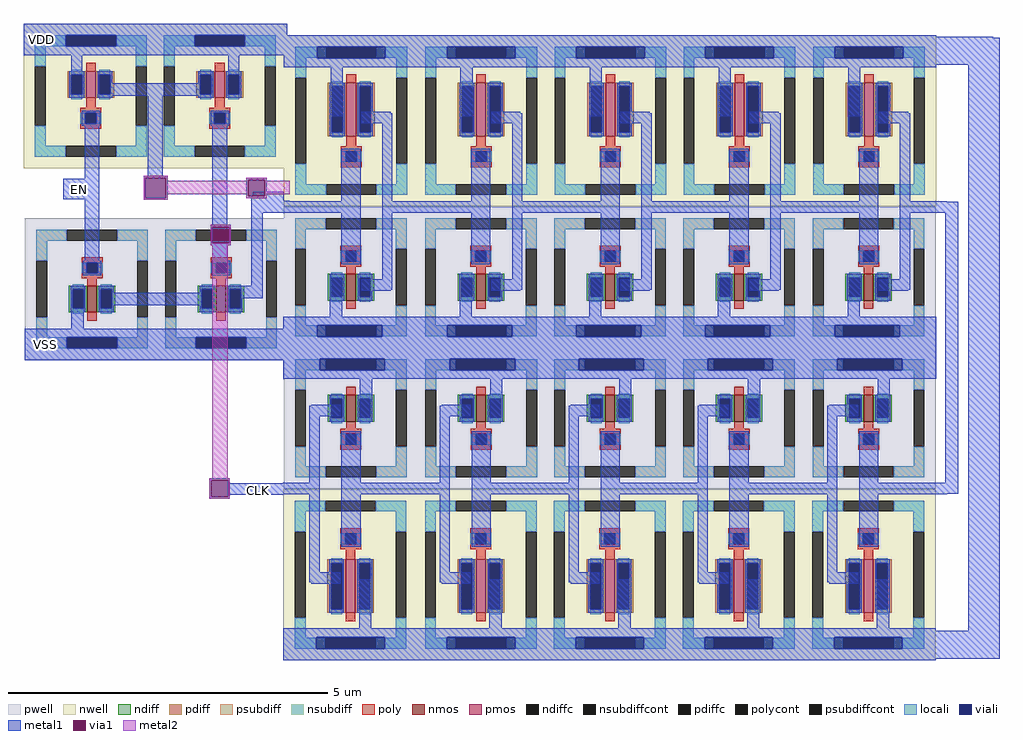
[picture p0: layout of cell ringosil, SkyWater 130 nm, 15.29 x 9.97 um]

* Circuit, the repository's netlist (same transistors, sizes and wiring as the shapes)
** sch_path: /foss/designs/mySAR_SKY130/magic/ringosil/../../xschem/ringosil.sch
*.subckt ringosil EN_CLK CLK VDD VSS
*.PININFO EN_CLK:I CLK:O VDD:I VSS:I
x1 VDD EN_CLK CLK net1 VSS nand
x2 VDD net1 net2 VSS inverter
x3 VDD net2 net3 VSS inverter
x4 VDD net3 net4 VSS inverter
x5 VDD net4 net5 VSS inverter
x6 VDD net5 net6 VSS inverter
x7 VDD net6 net7 VSS inverter
x8 VDD net7 net8 VSS inverter
x9 VDD net8 net9 VSS inverter
x10 VDD net9 net10 VSS inverter
x11 VDD net10 CLK VSS inverter
*.ends

* expanding   symbol:  /foss/designs/mySAR_SKY130/xschem/nand.sym # of pins=5
** sym_path: /foss/designs/mySAR_SKY130/xschem/nand.sym
** sch_path: /foss/designs/mySAR_SKY130/xschem/nand.sch
.subckt nand VDD A B OUT VSS
*.PININFO B:I OUT:O A:I VDD:I VSS:I
XM2 OUT B VDD VDD sky130_fd_pr__pfet_01v8 L=0.15 W=0.42 nf=1 m=1
XM1 OUT B net1 VSS sky130_fd_pr__nfet_01v8 L=0.15 W=0.42 nf=1 m=1
XM3 net1 A VSS VSS sky130_fd_pr__nfet_01v8 L=0.15 W=0.42 nf=1 m=1
XM4 OUT A VDD VDD sky130_fd_pr__pfet_01v8 L=0.15 W=0.42 nf=1 m=1
.ends


* expanding   symbol:  /foss/designs/mySAR_SKY130/xschem/inverter.sym # of pins=4
** sym_path: /foss/designs/mySAR_SKY130/xschem/inverter.sym
** sch_path: /foss/designs/mySAR_SKY130/xschem/inverter.sch
.subckt inverter VDD IN OUT VSS
*.PININFO IN:I VDD:I VSS:I OUT:O
XM1 OUT IN VSS VSS sky130_fd_pr__nfet_01v8 L=0.15 W=0.42 nf=1 m=1
XM2 OUT IN VDD VDD sky130_fd_pr__pfet_01v8 L=0.15 W=0.84 nf=1 m=1
.ends

.end

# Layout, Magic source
magic
tech sky130A
magscale 1 2
<< metal1 >>
rect 1470 2726 1576 2790
rect 4304 2762 4504 2766
rect 4304 2678 4524 2762
rect 1590 2256 1696 2320
rect 2184 2252 2282 2280
rect 2184 2242 2298 2252
rect 2200 2214 2298 2242
rect 4322 2248 4358 2250
rect 4322 2214 4394 2248
rect 2052 2170 2116 2176
rect 2052 2118 2058 2170
rect 2110 2118 2116 2170
rect 2052 2112 2116 2118
rect 1480 1768 1588 1834
rect 2048 1376 2112 1382
rect 2048 1324 2054 1376
rect 2108 1366 2112 1376
rect 4354 1368 4394 2214
rect 2108 1330 2280 1366
rect 4322 1334 4394 1368
rect 4322 1332 4358 1334
rect 2108 1324 2112 1330
rect 2048 1318 2112 1324
rect 4426 904 4524 2678
rect 4304 816 4524 904
<< via1 >>
rect 2058 2118 2110 2170
rect 2054 1324 2108 1376
<< metal2 >>
rect 2052 2170 2116 2176
rect 2052 2118 2058 2170
rect 2110 2118 2116 2170
rect 2052 2112 2116 2118
rect 2058 1382 2106 2112
rect 2048 1376 2112 1382
rect 2048 1324 2054 1376
rect 2108 1324 2112 1376
rect 2048 1318 2112 1324
use nand  x1
transform 1 0 988 0 1 1958
box 478 -206 1312 848
use inverter  x2
transform 1 0 1966 0 1 1800
box 314 -10 738 970
use inverter  x3
transform 1 0 2373 0 1 1800
box 314 -10 738 970
use inverter  x4
transform 1 0 2778 0 1 1800
box 314 -10 738 970
use inverter  x5
transform 1 0 3182 0 1 1800
box 314 -10 738 970
use inverter  x6
transform 1 0 3588 0 1 1800
box 314 -10 738 970
use inverter  x7
transform -1 0 4640 0 -1 1782
box 314 -10 738 970
use inverter  x8
transform -1 0 4234 0 -1 1782
box 314 -10 738 970
use inverter  x9
transform -1 0 3830 0 -1 1782
box 314 -10 738 970
use inverter  x10
transform -1 0 3426 0 -1 1782
box 314 -10 738 970
use inverter  x11
transform -1 0 3018 0 -1 1782
box 314 -10 738 970
<< labels >>
flabel metal1 1470 2726 1576 2790 0 FreeSans 160 0 0 0 VDD
port 0 nsew
flabel metal1 1482 1770 1588 1834 0 FreeSans 160 0 0 0 VSS
port 1 nsew
flabel metal1 1590 2256 1696 2320 0 FreeSans 160 0 0 0 EN
port 3 nsew
flabel metal1 2154 1330 2250 1360 0 FreeSans 160 0 0 0 CLK
port 5 nsew
<< end >>

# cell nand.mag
magic
tech sky130A
magscale 1 2
<< nwell >>
rect 478 396 1304 848
<< pwell >>
rect 482 -204 1308 238
<< nmos >>
rect 678 -56 708 28
rect 1082 -56 1112 28
<< pmos >>
rect 674 616 704 700
rect 1078 616 1108 700
<< ndiff >>
rect 620 16 678 28
rect 620 -44 632 16
rect 666 -44 678 16
rect 620 -56 678 -44
rect 708 16 766 28
rect 708 -44 720 16
rect 754 -44 766 16
rect 708 -56 766 -44
rect 1024 16 1082 28
rect 1024 -44 1036 16
rect 1070 -44 1082 16
rect 1024 -56 1082 -44
rect 1112 16 1170 28
rect 1112 -44 1124 16
rect 1158 -44 1170 16
rect 1112 -56 1170 -44
<< pdiff >>
rect 616 688 674 700
rect 616 628 628 688
rect 662 628 674 688
rect 616 616 674 628
rect 704 688 762 700
rect 704 628 716 688
rect 750 628 762 688
rect 704 616 762 628
rect 1020 688 1078 700
rect 1020 628 1032 688
rect 1066 628 1078 688
rect 1020 616 1078 628
rect 1108 688 1166 700
rect 1108 628 1120 688
rect 1154 628 1166 688
rect 1108 616 1166 628
<< ndiffc >>
rect 632 -44 666 16
rect 720 -44 754 16
rect 1036 -44 1070 16
rect 1124 -44 1158 16
<< pdiffc >>
rect 628 628 662 688
rect 716 628 750 688
rect 1032 628 1066 688
rect 1120 628 1154 688
<< psubdiff >>
rect 518 168 614 202
rect 772 168 868 202
rect 518 106 552 168
rect 834 106 868 168
rect 518 -134 552 -72
rect 834 -134 868 -72
rect 518 -168 614 -134
rect 772 -168 868 -134
rect 922 168 1018 202
rect 1176 168 1272 202
rect 922 106 956 168
rect 1238 106 1272 168
rect 922 -134 956 -72
rect 1238 -134 1272 -72
rect 922 -168 1018 -134
rect 1176 -168 1272 -134
<< nsubdiff >>
rect 514 778 610 812
rect 768 778 864 812
rect 514 715 548 778
rect 830 715 864 778
rect 514 466 548 529
rect 830 466 864 529
rect 514 432 610 466
rect 768 432 864 466
rect 918 778 1014 812
rect 1172 778 1268 812
rect 918 715 952 778
rect 1234 715 1268 778
rect 918 466 952 529
rect 1234 466 1268 529
rect 918 432 1014 466
rect 1172 432 1268 466
<< psubdiffcont >>
rect 614 168 772 202
rect 518 -72 552 106
rect 834 -72 868 106
rect 614 -168 772 -134
rect 1018 168 1176 202
rect 922 -72 956 106
rect 1238 -72 1272 106
rect 1018 -168 1176 -134
<< nsubdiffcont >>
rect 610 778 768 812
rect 514 529 548 715
rect 830 529 864 715
rect 610 432 768 466
rect 1014 778 1172 812
rect 918 529 952 715
rect 1234 529 1268 715
rect 1014 432 1172 466
<< poly >>
rect 674 700 704 726
rect 674 585 704 616
rect 656 569 722 585
rect 656 535 672 569
rect 706 535 722 569
rect 656 519 722 535
rect 1078 700 1108 726
rect 1078 585 1108 616
rect 1060 569 1126 585
rect 1060 535 1076 569
rect 1110 535 1126 569
rect 1060 519 1126 535
rect 660 100 726 116
rect 660 66 676 100
rect 710 66 726 100
rect 660 50 726 66
rect 678 28 708 50
rect 678 -82 708 -56
rect 1064 100 1130 116
rect 1064 66 1080 100
rect 1114 66 1130 100
rect 1064 50 1130 66
rect 1082 28 1112 50
rect 1082 -82 1112 -56
<< polycont >>
rect 672 535 706 569
rect 1076 535 1110 569
rect 676 66 710 100
rect 1080 66 1114 100
<< locali >>
rect 514 778 610 812
rect 768 778 864 812
rect 514 715 548 778
rect 830 715 864 778
rect 628 688 662 704
rect 628 612 662 628
rect 716 688 750 704
rect 716 612 750 628
rect 656 535 672 569
rect 706 535 722 569
rect 514 466 548 529
rect 830 466 864 529
rect 514 432 610 466
rect 768 432 864 466
rect 918 778 1014 812
rect 1172 778 1268 812
rect 918 715 952 778
rect 1234 715 1268 778
rect 1032 688 1066 704
rect 1032 612 1066 628
rect 1120 688 1154 704
rect 1120 612 1154 628
rect 1060 535 1076 569
rect 1110 535 1126 569
rect 918 466 952 529
rect 1234 466 1268 529
rect 918 432 1014 466
rect 1172 432 1268 466
rect 518 168 614 202
rect 772 168 868 202
rect 518 106 552 168
rect 834 106 868 168
rect 660 66 676 100
rect 710 66 726 100
rect 632 16 666 32
rect 632 -60 666 -44
rect 720 16 754 32
rect 720 -60 754 -44
rect 518 -134 552 -72
rect 834 -134 868 -72
rect 518 -168 614 -134
rect 772 -168 868 -134
rect 922 168 1018 202
rect 1176 168 1272 202
rect 922 106 956 168
rect 1238 106 1272 168
rect 1064 66 1080 100
rect 1114 66 1130 100
rect 1036 16 1070 32
rect 1036 -60 1070 -44
rect 1124 16 1158 32
rect 1124 -60 1158 -44
rect 922 -134 956 -72
rect 1238 -134 1272 -72
rect 922 -168 1018 -134
rect 1176 -168 1272 -134
<< viali >>
rect 610 778 768 812
rect 628 628 662 688
rect 716 628 750 688
rect 672 535 706 569
rect 1014 778 1172 812
rect 1032 628 1066 688
rect 1120 628 1154 688
rect 1076 535 1110 569
rect 676 66 710 100
rect 632 -44 666 16
rect 720 -44 754 16
rect 614 -168 772 -134
rect 1080 66 1114 100
rect 1036 -44 1070 16
rect 1124 -44 1158 16
rect 1018 -168 1176 -134
<< metal1 >>
rect 478 812 1304 848
rect 478 778 610 812
rect 768 778 1014 812
rect 1172 778 1304 812
rect 478 750 1304 778
rect 628 700 662 750
rect 1120 700 1154 750
rect 622 688 668 700
rect 622 628 628 688
rect 662 628 668 688
rect 622 616 668 628
rect 710 688 756 700
rect 710 628 716 688
rect 750 662 756 688
rect 1026 688 1072 700
rect 1026 662 1032 688
rect 750 628 1032 662
rect 1066 628 1072 688
rect 710 622 1072 628
rect 710 616 756 622
rect 670 575 716 576
rect 660 569 718 575
rect 660 535 672 569
rect 706 535 718 569
rect 660 529 718 535
rect 670 106 716 529
rect 868 372 914 622
rect 1026 616 1072 622
rect 1114 688 1160 700
rect 1114 628 1120 688
rect 1154 628 1160 688
rect 1114 616 1160 628
rect 1064 569 1122 575
rect 1064 535 1076 569
rect 1110 535 1122 569
rect 1064 529 1122 535
rect 854 366 930 372
rect 854 302 860 366
rect 924 302 930 366
rect 854 296 930 302
rect 1070 106 1116 529
rect 1176 360 1240 366
rect 1176 308 1182 360
rect 1234 308 1240 360
rect 1176 302 1240 308
rect 664 100 722 106
rect 664 66 676 100
rect 710 66 722 100
rect 664 60 722 66
rect 1068 100 1126 106
rect 1068 66 1080 100
rect 1114 66 1126 100
rect 1068 60 1126 66
rect 1070 58 1116 60
rect 1192 28 1228 302
rect 626 16 672 28
rect 626 -44 632 16
rect 666 -44 672 16
rect 626 -56 672 -44
rect 714 16 760 28
rect 714 -44 720 16
rect 754 6 760 16
rect 1030 16 1076 28
rect 1030 6 1036 16
rect 754 -34 1036 6
rect 754 -44 760 -34
rect 714 -56 760 -44
rect 1030 -44 1036 -34
rect 1070 -44 1076 16
rect 1030 -56 1076 -44
rect 1118 16 1228 28
rect 1118 -44 1124 16
rect 1158 -12 1228 16
rect 1158 -44 1164 -12
rect 1118 -56 1164 -44
rect 628 -108 666 -56
rect 482 -134 1308 -108
rect 482 -168 614 -134
rect 772 -168 1018 -134
rect 1176 -168 1308 -134
rect 482 -206 1308 -168
<< via1 >>
rect 860 302 924 366
rect 1182 308 1234 360
<< metal2 >>
rect 854 366 930 372
rect 854 302 860 366
rect 924 356 930 366
rect 1176 360 1240 366
rect 1176 356 1182 360
rect 924 314 1182 356
rect 924 302 930 314
rect 1176 308 1182 314
rect 1234 356 1240 360
rect 1234 314 1312 356
rect 1234 308 1240 314
rect 1176 302 1240 308
rect 854 296 930 302
<< labels >>
flabel space 670 60 716 576 0 FreeSans 160 0 0 0 A
port 0 nsew
flabel space 1070 58 1116 575 0 FreeSans 160 0 0 0 B
port 1 nsew
flabel metal2 1234 314 1312 356 0 FreeSans 160 0 0 0 OUT
port 2 nsew
flabel metal1 478 812 1304 848 0 FreeSans 160 0 0 0 VDD
port 3 nsew
flabel metal1 482 -206 1308 -168 0 FreeSans 160 0 0 0 VSS
port 5 nsew
<< end >>

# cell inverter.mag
magic
tech sky130A
magscale 1 2
<< pwell >>
rect 315 130 661 433
rect 315 -9 737 130
<< viali >>
rect 420 898 634 934
rect 420 26 624 62
<< metal1 >>
rect 316 934 738 970
rect 316 898 420 934
rect 634 898 738 934
rect 316 870 738 898
rect 462 716 500 870
rect 558 726 650 730
rect 558 694 656 726
rect 496 450 556 614
rect 316 414 556 450
rect 496 252 556 414
rect 624 450 656 694
rect 624 414 738 450
rect 460 88 498 208
rect 624 206 656 414
rect 558 172 656 206
rect 558 170 650 172
rect 314 62 738 88
rect 314 26 420 62
rect 624 26 738 62
rect 314 -10 738 26
use sky130_fd_pr__nfet_01v8_EDL9KC  sky130_fd_pr__nfet_01v8_EDL9KC_0
transform 1 0 526 0 1 212
box -211 -221 211 221
use sky130_fd_pr__pfet_01v8_2MG8BZ  sky130_fd_pr__pfet_01v8_2MG8BZ_0
transform 1 0 527 0 1 702
box -211 -268 211 268
<< labels >>
flabel metal1 314 -10 738 26 0 FreeSans 160 0 0 0 VSS
port 5 nsew
flabel metal1 316 414 556 450 0 FreeSans 160 0 0 0 Vin
port 7 nsew
flabel metal1 624 414 738 450 0 FreeSans 160 0 0 0 Vout
port 8 nsew
flabel metal1 316 932 738 970 0 FreeSans 160 0 0 0 VDD
port 6 nsew
<< end >>

# cell sky130_fd_pr__nfet_01v8_EDL9KC: kit device sky130_fd_pr__nfet_01v8, w 0.420 l 0.150 m 1 nf 1 diffcov 100 polycov 100 guard 1 glc 1 grc 1 gtc 1 gbc 1 tbcov 100 rlcov 100 topc 1 botc 0 poverlap 0 doverlap 1 lmin 0.15 wmin 0.42 compatible {sky130_fd_pr__nfet_01v8 sky130_fd_pr__nfet_01v8_lvt sky130_fd_bs_flash__special_sonosfet_star sky130_fd_pr__nfet_g5v0d10v5 sky130_fd_pr__nfet_05v0_nvt sky130_fd_pr__nfet_03v3_nvt} full_metal 1 viasrc 100 viadrn 100 viagate 100 viagb 0 viagr 0 viagl 0 viagt 0

# cell sky130_fd_pr__pfet_01v8_2MG8BZ: kit device sky130_fd_pr__pfet_01v8, w 0.84 l 0.15 m 1 nf 1 diffcov 100 polycov 100 guard 1 glc 1 grc 1 gtc 1 gbc 1 tbcov 100 rlcov 100 topc 0 botc 1 poverlap 0 doverlap 1 lmin 0.15 wmin 0.42 compatible {sky130_fd_pr__pfet_01v8 sky130_fd_pr__pfet_01v8_lvt sky130_fd_pr__pfet_01v8_hvt sky130_fd_pr__pfet_g5v0d10v5} full_metal 1 viasrc 100 viadrn 100 viagate 100 viagb 0 viagr 0 viagl 0 viagt 0
